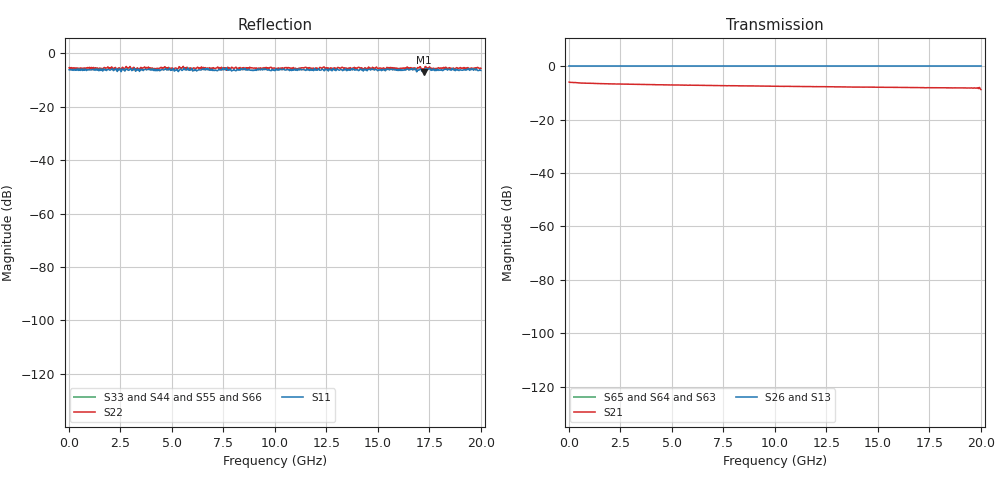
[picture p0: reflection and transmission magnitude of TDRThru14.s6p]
! File created by SignalIntegrity v1.3.3: Signal and Power Integrity Tools
! https://github.com/TeledyneLeCroy/SignalIntegrity
# MHz S MA R 50.0
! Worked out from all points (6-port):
!   1000 points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, 20 MHz to 20 GHz, reference 50 ohm
!   strongest paths, dB at 20 MHz, 5.02 GHz, 10.02 GHz, 15.02 GHz, 20 GHz:
!     S26: 0.0, 0.0, 0.0, 0.0, 0.0
!     S13: 0.0, 0.0, 0.0, 0.0, 0.0
!     S21: -6.0, -7.0, -7.5, -7.9, -8.7
!     S65: -, -, -, -, -
!     S64: -, -, -, -, -
!     S63: -, -, -, -, -
!   lowest |S11| = -6.9 dB at 17.24 GHz (marker M1), VSWR 2.64, Z = 132 + j4.09 ohm
!   |S11| at or under -10 dB: nowhere
